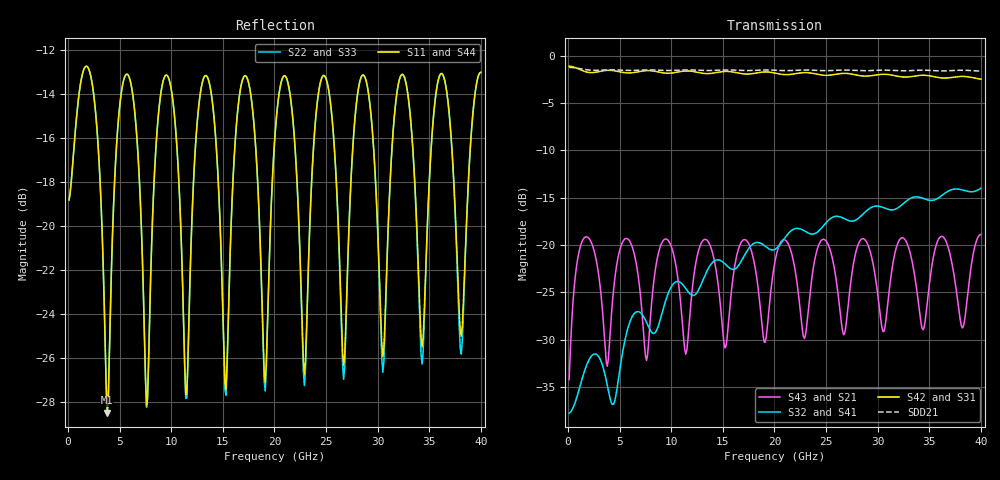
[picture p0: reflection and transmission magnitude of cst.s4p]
! T_ts6_diff_sl: Edge-coupled stripline pair In2, w 0.1 / s 0.15 mm, 20 mm
! stackup: ThunderScope Rev5.3 6-layer (FR408HR / FR-4, from the board file)
! ports: 1 near A, 2 near B, 3 far A, 4 far B
! CST Studio Suite 2025.5 Release from 2025-05-30, time domain (FIT, hexahedral, PBA), 155680 mesh cells, 42 s
! mesh: {'lpw': 20, 'lpb': 20, 'minstep': 0.0, 'ratio': 20}; ports: port 1 (face); port 2 (face); port 3 (face); port 4 (face)
! interpolated from CST's 1001 samples to the case grid
# Hz S RI R 50
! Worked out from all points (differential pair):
!   400 points, 100 MHz to 40 GHz, reference 50 ohm
!   strongest paths, dB at 100 MHz, 10.1 GHz, 20.1 GHz, 30.1 GHz, 40 GHz:
!     S42: -1.1, -1.8, -1.8, -2.0, -2.5
!     S31: -1.1, -1.8, -1.8, -2.0, -2.5
!     S32: -37.8, -24.2, -20.4, -15.9, -14.0
!     S41: -37.8, -24.2, -20.4, -15.9, -14.0
!     S43: -34.2, -20.5, -21.4, -26.0, -18.9
!     S21: -34.2, -20.5, -21.4, -26.0, -18.9
!   taken as a pair (ports 2,1 in; 4,3 out), SDD21 dB: -1.2, -1.5, -1.5, -1.5, -1.6
!   lowest |S11| = -28.5 dB at 3.8 GHz (marker M1), VSWR 1.08, Z = 53.9 + j0.463 ohm
!   |S11| at or under -10 dB: start of sweep to end of sweep
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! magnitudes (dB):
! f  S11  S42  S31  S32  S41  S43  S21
! 100 MHz  -18.8  -1.1  -1.1  -37.8  -37.8  -34.2  -34.2
! 1.7 GHz  -12.7  -1.7  -1.7  -33.0  -33.0  -19.1  -19.1
! 3.8 GHz  -28.5  -1.5  -1.5  -34.8  -34.8  -32.8  -32.8
! 5.6 GHz  -13.1  -1.8  -1.8  -29.6  -29.6  -19.3  -19.3
! 7.6 GHz  -28.1  -1.6  -1.6  -28.2  -28.2  -32.2  -32.2
! 9.4 GHz  -13.2  -1.8  -1.8  -26.1  -26.1  -19.4  -19.4
! 40 GHz  -13.0  -2.5  -2.5  -14.0  -14.0  -18.9  -18.9
